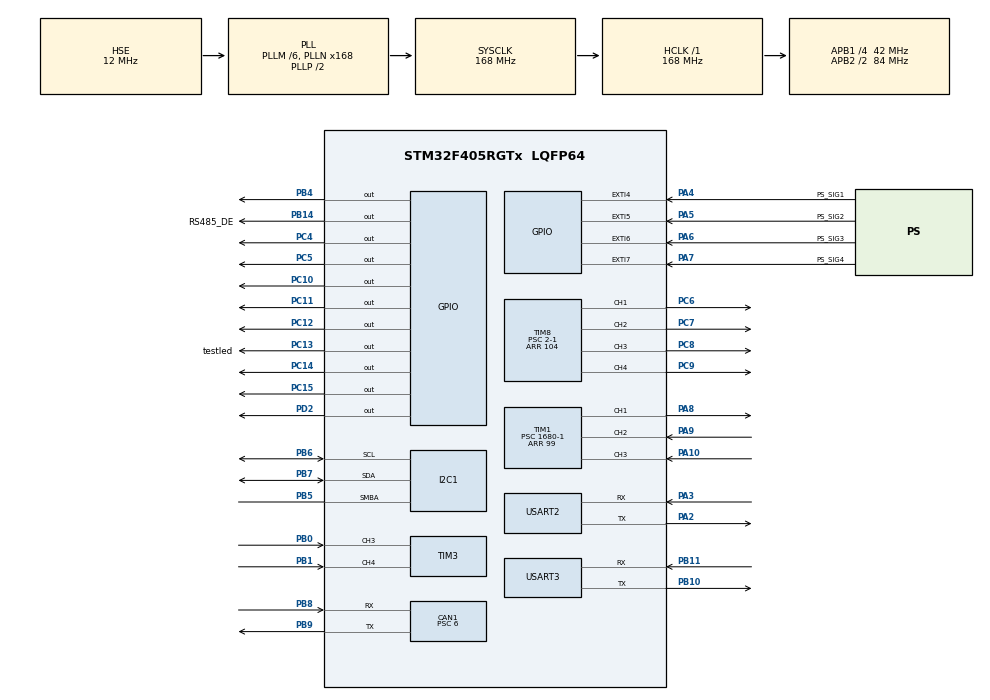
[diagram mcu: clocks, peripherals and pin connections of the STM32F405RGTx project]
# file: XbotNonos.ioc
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CAN1.ABOM=ENABLE
CAN1.BS1=CAN_BS1_10TQ
CAN1.BS2=CAN_BS2_3TQ
CAN1.CalculateBaudRate=500000
CAN1.CalculateTimeBit=2000
CAN1.CalculateTimeQuantum=142.85714285714286
CAN1.Prescaler=6
Dma.Request0=TIM8_CH1
Dma.Request1=USART2_TX
Dma.Request2=TIM8_CH2
Dma.Request3=TIM8_CH3
Dma.Request4=TIM8_CH4/TRIG/COM
Dma.TIM8_CH1.0.Direction=DMA_MEMORY_TO_PERIPH
Dma.TIM8_CH1.0.FIFOMode=DMA_FIFOMODE_DISABLE
Dma.TIM8_CH1.0.Instance=DMA2_Stream2
Dma.TIM8_CH1.0.MemDataAlignment=DMA_MDATAALIGN_HALFWORD
Dma.TIM8_CH1.0.MemInc=DMA_MINC_ENABLE
Dma.TIM8_CH1.0.Mode=DMA_NORMAL
Dma.TIM8_CH1.0.PeriphDataAlignment=DMA_PDATAALIGN_HALFWORD
Dma.TIM8_CH1.0.PeriphInc=DMA_PINC_DISABLE
Dma.TIM8_CH1.0.Priority=DMA_PRIORITY_LOW
Dma.TIM8_CH2.2.Direction=DMA_MEMORY_TO_PERIPH
Dma.TIM8_CH2.2.FIFOMode=DMA_FIFOMODE_DISABLE
Dma.TIM8_CH2.2.Instance=DMA2_Stream3
Dma.TIM8_CH2.2.MemDataAlignment=DMA_MDATAALIGN_HALFWORD
Dma.TIM8_CH2.2.MemInc=DMA_MINC_ENABLE
Dma.TIM8_CH2.2.Mode=DMA_NORMAL
Dma.TIM8_CH2.2.PeriphDataAlignment=DMA_PDATAALIGN_HALFWORD
Dma.TIM8_CH2.2.PeriphInc=DMA_PINC_DISABLE
Dma.TIM8_CH2.2.Priority=DMA_PRIORITY_LOW
Dma.TIM8_CH3.3.Direction=DMA_MEMORY_TO_PERIPH
Dma.TIM8_CH3.3.FIFOMode=DMA_FIFOMODE_DISABLE
Dma.TIM8_CH3.3.Instance=DMA2_Stream4
Dma.TIM8_CH3.3.MemDataAlignment=DMA_MDATAALIGN_HALFWORD
Dma.TIM8_CH3.3.MemInc=DMA_MINC_ENABLE
Dma.TIM8_CH3.3.Mode=DMA_NORMAL
Dma.TIM8_CH3.3.PeriphDataAlignment=DMA_PDATAALIGN_HALFWORD
Dma.TIM8_CH3.3.PeriphInc=DMA_PINC_DISABLE
Dma.TIM8_CH3.3.Priority=DMA_PRIORITY_LOW
Dma.TIM8_CH4/TRIG/COM.4.Direction=DMA_MEMORY_TO_PERIPH
Dma.TIM8_CH4/TRIG/COM.4.FIFOMode=DMA_FIFOMODE_DISABLE
Dma.TIM8_CH4/TRIG/COM.4.Instance=DMA2_Stream7
Dma.TIM8_CH4/TRIG/COM.4.MemDataAlignment=DMA_MDATAALIGN_HALFWORD
Dma.TIM8_CH4/TRIG/COM.4.MemInc=DMA_MINC_ENABLE
Dma.TIM8_CH4/TRIG/COM.4.Mode=DMA_NORMAL
Dma.TIM8_CH4/TRIG/COM.4.PeriphDataAlignment=DMA_PDATAALIGN_HALFWORD
Dma.TIM8_CH4/TRIG/COM.4.PeriphInc=DMA_PINC_DISABLE
Dma.TIM8_CH4/TRIG/COM.4.Priority=DMA_PRIORITY_LOW
Dma.USART2_TX.1.Direction=DMA_MEMORY_TO_PERIPH
Dma.USART2_TX.1.FIFOMode=DMA_FIFOMODE_DISABLE
Dma.USART2_TX.1.Instance=DMA1_Stream6
Dma.USART2_TX.1.MemDataAlignment=DMA_MDATAALIGN_BYTE
Dma.USART2_TX.1.MemInc=DMA_MINC_ENABLE
Dma.USART2_TX.1.Mode=DMA_NORMAL
Dma.USART2_TX.1.PeriphDataAlignment=DMA_PDATAALIGN_BYTE
Dma.USART2_TX.1.PeriphInc=DMA_PINC_DISABLE
Dma.USART2_TX.1.Priority=DMA_PRIORITY_LOW
Mcu.Family=STM32F4
Mcu.Name=STM32F405RGTx
Mcu.Package=LQFP64
NVIC.CAN1_RX0_IRQn=true\:0\:0\:false\:false\:true\:true\:true\:true
NVIC.DMA1_Stream6_IRQn=true\:0\:0\:false\:false\:true\:false\:true\:true
NVIC.DMA2_Stream2_IRQn=true\:0\:0\:false\:false\:true\:false\:true\:true
NVIC.DMA2_Stream3_IRQn=true\:0\:0\:false\:false\:true\:false\:true\:true
NVIC.DMA2_Stream4_IRQn=true\:0\:0\:false\:false\:true\:false\:true\:true
NVIC.DMA2_Stream7_IRQn=true\:0\:0\:false\:false\:true\:false\:true\:true
NVIC.EXTI4_IRQn=true\:0\:0\:false\:false\:true\:true\:true\:true
NVIC.EXTI9_5_IRQn=true\:0\:0\:false\:false\:true\:true\:true\:true
NVIC.PriorityGroup=NVIC_PRIORITYGROUP_4
NVIC.TIM6_DAC_IRQn=true\:0\:0\:false\:false\:true\:true\:true\:true
NVIC.USART2_IRQn=true\:0\:0\:false\:false\:true\:true\:true\:true
NVIC.USART3_IRQn=true\:0\:0\:false\:false\:true\:true\:true\:true
PA10.Signal=S_TIM1_CH3
PA13.Mode=Trace_Asynchronous_SW
PA13.Signal=SYS_JTMS-SWDIO
PA14.Mode=Trace_Asynchronous_SW
PA14.Signal=SYS_JTCK-SWCLK
PA2.Mode=Asynchronous
PA2.Signal=USART2_TX
PA3.Mode=Asynchronous
PA3.Signal=USART2_RX
PA4.GPIO_Label=PS_SIG1
PA4.GPIO_ModeDefaultEXTI=GPIO_MODE_IT_RISING_FALLING
PA4.Signal=GPXTI4
PA5.GPIO_Label=PS_SIG2
PA5.GPIO_ModeDefaultEXTI=GPIO_MODE_IT_RISING_FALLING
PA5.Signal=GPXTI5
PA6.GPIO_Label=PS_SIG3
PA6.GPIO_ModeDefaultEXTI=GPIO_MODE_IT_RISING_FALLING
PA6.GPIO_PuPd=GPIO_NOPULL
PA6.Signal=GPXTI6
PA7.GPIO_Label=PS_SIG4
PA7.GPIO_ModeDefaultEXTI=GPIO_MODE_IT_RISING_FALLING
PA7.GPIO_PuPd=GPIO_PULLUP
PA7.Signal=GPXTI7
PA8.Signal=S_TIM1_CH1
PA9.Signal=S_TIM1_CH2
PB0.Signal=S_TIM3_CH3
PB1.Signal=S_TIM3_CH4
PB10.Mode=Asynchronous
PB10.Signal=USART3_TX
PB11.Mode=Asynchronous
PB11.Signal=USART3_RX
PB14.GPIO_Label=RS485_DE
PB14.GPIO_ModeDefaultOutputPP=GPIO_MODE_OUTPUT_PP
PB14.GPIO_PuPd=GPIO_NOPULL
PB14.GPIO_Speed=GPIO_SPEED_FREQ_LOW
PB14.Signal=GPIO_Output
PB3.Mode=Trace_Asynchronous_SW
PB3.Signal=SYS_JTDO-SWO
PB4.Signal=GPIO_Output
PB5.Mode=SMBus-Alert-mode
PB5.Signal=I2C1_SMBA
PB6.Mode=SMBus-Alert-mode
PB6.Signal=I2C1_SCL
PB7.Mode=SMBus-Alert-mode
PB7.Signal=I2C1_SDA
PB8.Mode=CAN_Activate
PB8.Signal=CAN1_RX
PB9.Mode=CAN_Activate
PB9.Signal=CAN1_TX
PC10.Signal=GPIO_Output
PC11.Signal=GPIO_Output
PC12.Signal=GPIO_Output
PC13-ANTI_TAMP.GPIO_Label=testled
PC13-ANTI_TAMP.Signal=GPIO_Output
PC14-OSC32_IN.Signal=GPIO_Output
PC15-OSC32_OUT.Signal=GPIO_Output
PC4.Signal=GPIO_Output
PC5.Signal=GPIO_Output
PC6.Signal=S_TIM8_CH1
PC7.Signal=S_TIM8_CH2
PC8.Signal=S_TIM8_CH3
PC9.Signal=S_TIM8_CH4
PD2.Signal=GPIO_Output
PH0-OSC_IN.Mode=HSE-External-Oscillator
PH0-OSC_IN.Signal=RCC_OSC_IN
PH1-OSC_OUT.Mode=HSE-External-Oscillator
PH1-OSC_OUT.Signal=RCC_OSC_OUT
ProjectManager.HeapSize=0x200
ProjectManager.StackSize=0x400
ProjectManager.TargetToolchain=STM32CubeIDE
RCC.48MHZClocksFreq_Value=84000000
RCC.AHBFreq_Value=168000000
RCC.APB1CLKDivider=RCC_HCLK_DIV4
RCC.APB1Freq_Value=42000000
RCC.APB1TimFreq_Value=84000000
RCC.APB2CLKDivider=RCC_HCLK_DIV2
RCC.APB2Freq_Value=84000000
RCC.APB2TimFreq_Value=168000000
RCC.CortexFreq_Value=168000000
RCC.HCLKFreq_Value=168000000
RCC.HSE_VALUE=12000000
RCC.HSI_VALUE=16000000
RCC.LSE_VALUE=32768
RCC.PLLM=6
RCC.PLLN=168
RCC.PLLSourceVirtual=RCC_PLLSOURCE_HSE
RCC.SYSCLKFreq_VALUE=168000000
RCC.SYSCLKSource=RCC_SYSCLKSOURCE_PLLCLK
RCC.VCOOutputFreq_Value=336000000
SH.S_TIM1_CH1.0=TIM1_CH1,PWM Generation1 CH1
SH.S_TIM1_CH2.0=TIM1_CH2,Input_Capture2_from_TI2
SH.S_TIM1_CH3.0=TIM1_CH3,Input_Capture3_from_TI3
SH.S_TIM3_CH3.0=TIM3_CH3,Input_Capture3_from_TI3
SH.S_TIM3_CH4.0=TIM3_CH4,Input_Capture4_from_TI4
SH.S_TIM8_CH1.0=TIM8_CH1,PWM Generation1 CH1
SH.S_TIM8_CH2.0=TIM8_CH2,PWM Generation2 CH2
SH.S_TIM8_CH3.0=TIM8_CH3,PWM Generation3 CH3
SH.S_TIM8_CH4.0=TIM8_CH4,PWM Generation4 CH4
TIM1.Channel-Input_Capture2_from_TI2=TIM_CHANNEL_2
TIM1.Channel-Input_Capture3_from_TI3=TIM_CHANNEL_3
TIM1.Channel-PWM\ Generation1\ CH1=TIM_CHANNEL_1
TIM1.Period=99
TIM1.Prescaler=1680-1
TIM3.Channel-Input_Capture3_from_TI3=TIM_CHANNEL_3
TIM3.Channel-Input_Capture4_from_TI4=TIM_CHANNEL_4
TIM6.Period=10000-1
TIM6.Prescaler=4200-1
TIM8.Channel-PWM\ Generation1\ CH1=TIM_CHANNEL_1
TIM8.Channel-PWM\ Generation2\ CH2=TIM_CHANNEL_2
TIM8.Channel-PWM\ Generation3\ CH3=TIM_CHANNEL_3
TIM8.Channel-PWM\ Generation4\ CH4=TIM_CHANNEL_4
TIM8.Period=104
TIM8.Prescaler=2-1
USART2.VirtualMode=VM_ASYNC
USART3.VirtualMode=VM_ASYNC
VP_TIM3_VS_ClockSourceINT.Mode=Internal
VP_TIM6_VS_ClockSourceINT.Mode=Enable_Timer
VP_TIM8_VS_ClockSourceINT.Mode=Internal
board=custom

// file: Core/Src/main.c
/* USER CODE BEGIN Header */
/**
  ******************************************************************************
  * @file           : main.c
  * @brief          : Main program body
  ******************************************************************************
  * @attention
  *
  * Copyright (c) 2023 STMicroelectronics.
  * All rights reserved.
  *
  * This software is licensed under terms that can be found in the LICENSE file
  * in the root directory of this software component.
  * If no LICENSE file comes with this software, it is provided AS-IS.
  *
  ******************************************************************************
  */
/* USER CODE END Header */
#include "main.h"
#include "can.h"
#include "dma.h"
#include "i2c.h"
#include "tim.h"
#include "usart.h"
#include "gpio.h"

/* USER CODE BEGIN PV */
volatile uint32_t sysTickCounter = 0;  // SysTick ???���??? �??? ???�� �????��
/* USER CODE END PV */

void SystemClock_Config(void);

/* USER CODE BEGIN 0 */

//void SysTick_Init(void) {
//  SysTick->LOAD = SysTick_LOAD_RELOAD_Msk;  // 최�? 값으�??? ?��?��
//  SysTick->VAL = 0;                         // 초기 �??? ?��?��
//  SysTick->CTRL = SysTick_CTRL_CLKSOURCE_Msk |  // ?��?�� ?��?���??? CPU ?��?�� ?��?��
//                  SysTick_CTRL_ENABLE_Msk;      // SysTick ???���??? ?��?��?��
//}
//
//void SysTick_Handler(void) {
//  sysTickCounter++;  // SysTick ???���??? �??? 증�?
//}

//int _write(int file, char *ptr, int len)
//{
//	HAL_UART_Transmit(&huart2, (uint8_t *)ptr, (uint16_t)len, 100);
//	return (len);
//}

int _write(int file, char *ptr, int len)//485 task for nuri motor must change uart port
{
	//HAL_UART_Transmit_DMA(&huart2, (uint8_t *)ptr, (uint16_t)len);
//	HAL_UART_Transmit(&huart2, (uint8_t *)ptr, (uint16_t)len, 100);
//	return (len);
//
	for(int i = 0; i < len; i++)
	{
		ITM_SendChar(*ptr++);
	}
	return len;
}

/* USER CODE END 0 */

int main(void)
{

  /* MCU Configuration--------------------------------------------------------*/

  /* Reset of all peripherals, Initializes the Flash interface and the Systick. */
  HAL_Init();

  /* Configure the system clock */
  SystemClock_Config();

  /* USER CODE BEGIN SysInit */
  HAL_Delay(1000);
#if 0
  MX_GPIO_Init();
  MX_DMA_Init();
  MX_USART3_UART_Init();
  MX_USART2_UART_Init();
  MX_TIM1_Init();
  MX_I2C1_SMBUS_Init();
  MX_CAN1_Init();
  MX_TIM8_Init();
  MX_TIM3_Init();
  MX_TIM6_Init();
#endif
  /* USER CODE END SysInit */

  /* Initialize all configured peripherals */
  MX_GPIO_Init();
  MX_DMA_Init();
  MX_USART3_UART_Init();
  MX_USART2_UART_Init();
  MX_TIM1_Init();
  MX_I2C1_SMBUS_Init();
  MX_CAN1_Init();
  MX_TIM8_Init();
  MX_TIM3_Init();
  MX_TIM6_Init();
  /* USER CODE BEGIN 2 */
  HAL_TIM_Base_Start_IT (&htim6);

  /* USER CODE END 2 */

  /* Infinite loop */
  while (1)
  {

    /* USER CODE BEGIN 3 */
//	  printf("hihi\n");
//	  HAL_Delay(100);
	  app();
  }
  /* USER CODE END 3 */
}

void SystemClock_Config(void)
{
  RCC_OscInitTypeDef RCC_OscInitStruct = {0};
  RCC_ClkInitTypeDef RCC_ClkInitStruct = {0};

  /** Configure the main internal regulator output voltage
  */
  __HAL_RCC_PWR_CLK_ENABLE();
  __HAL_PWR_VOLTAGESCALING_CONFIG(PWR_REGULATOR_VOLTAGE_SCALE1);

  /** Initializes the RCC Oscillators according to the specified parameters
  * in the RCC_OscInitTypeDef structure.
  */
  RCC_OscInitStruct.OscillatorType = RCC_OSCILLATORTYPE_HSE;
  RCC_OscInitStruct.HSEState = RCC_HSE_ON;
  RCC_OscInitStruct.PLL.PLLState = RCC_PLL_ON;
  RCC_OscInitStruct.PLL.PLLSource = RCC_PLLSOURCE_HSE;
  RCC_OscInitStruct.PLL.PLLM = 6;
  RCC_OscInitStruct.PLL.PLLN = 168;
  RCC_OscInitStruct.PLL.PLLP = RCC_PLLP_DIV2;
  RCC_OscInitStruct.PLL.PLLQ = 4;
  if (HAL_RCC_OscConfig(&RCC_OscInitStruct) != HAL_OK)
  {
    Error_Handler();
  }

  /** Initializes the CPU, AHB and APB buses clocks
  */
  RCC_ClkInitStruct.ClockType = RCC_CLOCKTYPE_HCLK|RCC_CLOCKTYPE_SYSCLK
                              |RCC_CLOCKTYPE_PCLK1|RCC_CLOCKTYPE_PCLK2;
  RCC_ClkInitStruct.SYSCLKSource = RCC_SYSCLKSOURCE_PLLCLK;
  RCC_ClkInitStruct.AHBCLKDivider = RCC_SYSCLK_DIV1;
  RCC_ClkInitStruct.APB1CLKDivider = RCC_HCLK_DIV4;
  RCC_ClkInitStruct.APB2CLKDivider = RCC_HCLK_DIV2;

  if (HAL_RCC_ClockConfig(&RCC_ClkInitStruct, FLASH_LATENCY_5) != HAL_OK)
  {
    Error_Handler();
  }
}

void Error_Handler(void)
{
  __disable_irq();
  while (1)
  {
  }
}
